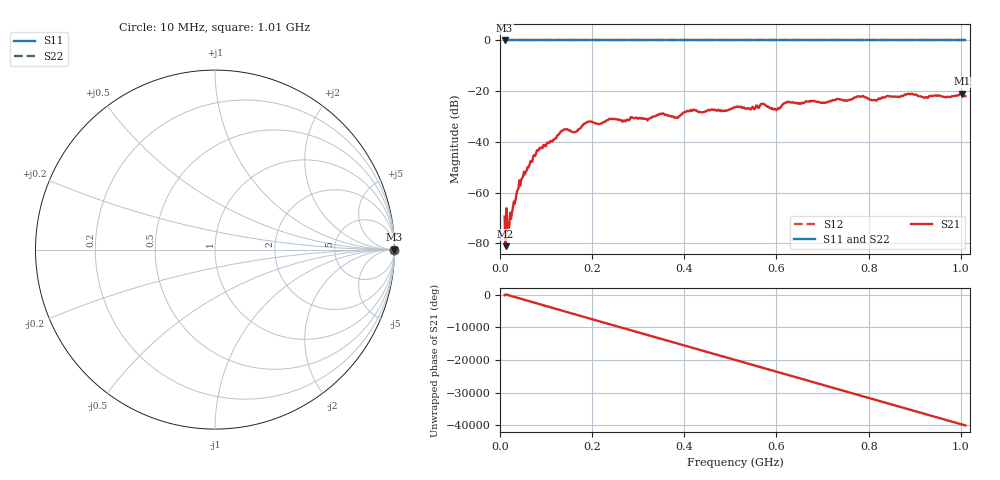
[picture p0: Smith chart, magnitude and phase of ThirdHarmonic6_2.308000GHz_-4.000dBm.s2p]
! 8/17/2025 3:10:55 AM
! C:\ANRITSUVNA\TEMP\TEMP.S2P
! CHANNEL.1
! TR.MEASUREMENT
! RAW.DATA
! RF.CORRECTION.OFF
! AVERAGING.OFF
! IF.BANDWIDTH: 5KHZ
! SWEEPTYPE:  FREQ.SWEEP(Linear)
! Reference Plane Port Info
! PORT:  PORT1  PORT2
! DISTANCE:  0  m  0  m
! TIME:  0  s  0  s
! PHASE.OFFSET:  0  deg.  0  deg.
! LOSS:  0  dB  0  dB
! REF.LOSS:  0  dB  0  dB
! REF.FREQ:  0  Hz  0  Hz
! Power Info
! POWER:  -20  dBm  -20  dBm
! EFF.POWER:  -20  dBm  -20  dBm
! SOURCE.ATTEN:  0  dB  0  dB
! TEST.ATTEN:  0  dB  0  dB
# GHZ S RI R 50.0
! FREQ.GHZ  S11RE  S11IM  S21RE  S21IM  S12RE  S12IM  S22RE  S22IM
!; PortSelection: Port_12
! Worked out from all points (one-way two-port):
!   501 points, 10 MHz to 1.01 GHz, reference 50 ohm
!   highest |S21| = -21.00 dB at 1.002 GHz (marker M1); lowest = -81.2 dB at 12 MHz (marker M2)
!   lowest |S11| = 0.0 dB at 10 MHz (marker M3)
!   |S11| at or under -10 dB: nowhere
!   |S22| runs from 0.0 to 0.0 dB; largest |S21 - S12| = 1.1
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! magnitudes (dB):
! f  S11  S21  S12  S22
! 10 MHz  0.0  -69.5  0.0  0.0
! 12 MHz  0.0  -81.2  0.0  0.0
! 16 MHz  0.0  -73.9  0.0  0.0
! 18 MHz  0.0  -73.3  0.0  0.0
! 20 MHz  0.0  -73.9  0.0  0.0
! 46 MHz  0.0  -55.0  0.0  0.0
! 84 MHz  0.0  -43.3  0.0  0.0
! 136 MHz  0.0  -35.6  0.0  0.0
! 164 MHz  0.0  -36.1  0.0  0.0
! 178 MHz  0.0  -33.9  0.0  0.0
! 194 MHz  0.0  -32.0  0.0  0.0
! 344 MHz  0.0  -29.4  0.0  0.0
! 382 MHz  0.0  -30.4  0.0  0.0
! 410 MHz  0.0  -28.0  0.0  0.0
! 510 MHz  0.0  -26.4  0.0  0.0
! 570 MHz  0.0  -24.9  0.0  0.0
! 598 MHz  0.0  -27.2  0.0  0.0
! 624 MHz  0.0  -24.2  0.0  0.0
! 678 MHz  0.0  -23.9  0.0  0.0
! 844 MHz  0.0  -22.0  0.0  0.0
! 1.002 GHz  0.0  -21.0  0.0  0.0
! 1.01 GHz  0.0  -22.0  0.0  0.0
